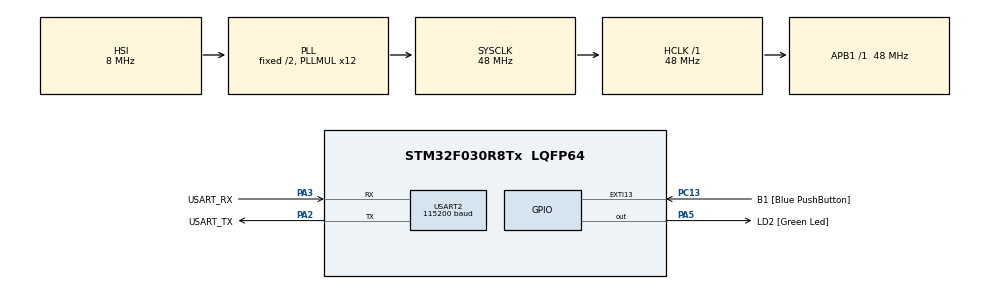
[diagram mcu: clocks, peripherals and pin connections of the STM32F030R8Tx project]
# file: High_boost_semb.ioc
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Mcu.Family=STM32F0
Mcu.Name=STM32F030R8Tx
Mcu.Package=LQFP64
NVIC.USART2_IRQn=true\:0\:0\:false\:false\:true\:true\:true\:true
PA13.GPIO_Label=TMS
PA13.Mode=Serial_Wire
PA13.Signal=SYS_SWDIO
PA14.GPIO_Label=TCK
PA14.Mode=Serial_Wire
PA14.Signal=SYS_SWCLK
PA2.GPIO_Label=USART_TX
PA2.GPIO_Mode=GPIO_MODE_AF_PP
PA2.GPIO_PuPd=GPIO_NOPULL
PA2.GPIO_Speed=GPIO_SPEED_FREQ_LOW
PA2.Mode=Asynchronous
PA2.Signal=USART2_TX
PA3.GPIO_Label=USART_RX
PA3.GPIO_Mode=GPIO_MODE_AF_PP
PA3.GPIO_PuPd=GPIO_NOPULL
PA3.GPIO_Speed=GPIO_SPEED_FREQ_LOW
PA3.Mode=Asynchronous
PA3.Signal=USART2_RX
PA5.GPIO_Label=LD2 [Green Led]
PA5.GPIO_Mode=GPIO_MODE_OUTPUT_PP
PA5.GPIO_PuPd=GPIO_NOPULL
PA5.GPIO_Speed=GPIO_SPEED_FREQ_LOW
PA5.Signal=GPIO_Output
PC13.GPIO_Label=B1 [Blue PushButton]
PC13.GPIO_ModeDefaultEXTI=GPIO_MODE_IT_FALLING
PC13.Signal=GPXTI13
PC14-OSC32_IN.Mode=LSE-External-Oscillator
PC14-OSC32_IN.Signal=RCC_OSC32_IN
PC15-OSC32_OUT.Mode=LSE-External-Oscillator
PC15-OSC32_OUT.Signal=RCC_OSC32_OUT
PF0-OSC_IN.Mode=HSE-External-Clock-Source
PF0-OSC_IN.Signal=RCC_OSC_IN
PF1-OSC_OUT.Signal=RCC_OSC_OUT
ProjectManager.HeapSize=0x200
ProjectManager.StackSize=0x400
ProjectManager.TargetToolchain=STM32CubeIDE
RCC.AHBFreq_Value=48000000
RCC.APB1Freq_Value=48000000
RCC.APB1TimFreq_Value=48000000
RCC.HCLKFreq_Value=48000000
RCC.PLLMUL=RCC_PLL_MUL12
RCC.SYSCLKFreq_VALUE=48000000
RCC.SYSCLKSource=RCC_SYSCLKSOURCE_PLLCLK
USART2.BaudRate=115200
USART2.VirtualMode-Asynchronous=VM_ASYNC
board=NUCLEO-F030R8

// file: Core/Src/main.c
/* USER CODE BEGIN Header */
/**
 ******************************************************************************
 * @file           : main.c
 * @brief          : Main program body
 ******************************************************************************
 * @attention
 *
 * Copyright (c) 2025 STMicroelectronics.
 * All rights reserved.
 *
 * This software is licensed under terms that can be found in the LICENSE file
 * in the root directory of this software component.
 * If no LICENSE file comes with this software, it is provided AS-IS.
 *
 ******************************************************************************
 */
/* USER CODE END Header */
#include "main.h"
#include <stdio.h>

UART_HandleTypeDef huart2;

void SystemClock_Config(void);
static void MX_GPIO_Init(void);
static void MX_USART2_UART_Init(void);

/* USER CODE BEGIN 0 */
#define MAX_VAL 255

const uint8_t imagem[60][90] = { { 106, 99, 97, 88, 93, 101, 98, 96, 90, 88, 91,
		86, 86, 83, 82, 85, 88, 86, 86, 88, 83, 84, 91, 92, 87, 90, 90, 91, 98,
		94, 99, 96, 93, 95, 88, 91, 91, 97, 95, 99, 105, 99, 86, 88, 88, 91, 94,
		94, 96, 87, 86, 86, 86, 86, 84, 81, 80, 80, 81, 84, 87, 89, 87, 79, 79,
		78, 75, 74, 75, 78, 80, 83, 77, 81, 82, 77, 75, 80, 84, 85, 79, 75, 70,
		69, 70, 70, 74, 75, 69, 70 }, { 112, 105, 96, 92, 95, 97, 103, 99, 96,
		99, 90, 84, 86, 87, 92, 95, 94, 85, 92, 97, 93, 88, 93, 103, 103, 100,
		99, 100, 103, 101, 94, 99, 108, 104, 95, 98, 100, 105, 105, 114, 113,
		103, 104, 109, 114, 127, 134, 128, 112, 113, 120, 110, 99, 94, 88, 80,
		81, 82, 85, 92, 84, 87, 90, 81, 81, 88, 84, 83, 84, 88, 96, 92, 87, 95,
		87, 83, 83, 83, 83, 78, 76, 74, 68, 71, 73, 70, 71, 73, 73, 70 }, { 107,
		104, 96, 96, 86, 87, 96, 97, 94, 94, 87, 79, 80, 85, 92, 93, 96, 95,
		108, 113, 106, 91, 91, 95, 95, 101, 105, 105, 110, 113, 116, 114, 108,
		102, 103, 114, 115, 119, 130, 125, 116, 105, 117, 128, 128, 144, 131,
		124, 124, 125, 129, 122, 114, 111, 100, 96, 97, 97, 97, 99, 82, 82, 89,
		83, 87, 90, 88, 89, 87, 87, 87, 86, 94, 101, 94, 89, 81, 80, 79, 80, 76,
		77, 74, 75, 74, 72, 71, 75, 79, 73 }, { 108, 108, 101, 96, 88, 93, 97,
		95, 91, 88, 83, 80, 81, 84, 92, 94, 98, 101, 109, 112, 109, 94, 94, 99,
		95, 98, 103, 108, 110, 120, 119, 119, 116, 115, 111, 123, 127, 131, 139,
		147, 143, 128, 133, 132, 129, 131, 131, 126, 126, 129, 130, 136, 130,
		126, 117, 111, 110, 112, 94, 90, 85, 92, 87, 77, 80, 77, 83, 83, 80, 82,
		80, 79, 83, 87, 93, 91, 83, 82, 79, 77, 77, 79, 81, 81, 76, 73, 73, 78,
		79, 73 }, { 117, 112, 110, 109, 98, 104, 100, 89, 91, 96, 96, 89, 90,
		85, 86, 87, 90, 102, 101, 100, 100, 100, 104, 105, 103, 96, 101, 107,
		109, 118, 114, 114, 116, 117, 114, 113, 134, 153, 145, 120, 88, 62, 49,
		38, 34, 30, 34, 34, 37, 46, 60, 83, 107, 133, 138, 120, 113, 106, 103,
		98, 96, 102, 90, 77, 78, 77, 83, 87, 85, 81, 80, 85, 87, 86, 89, 86, 85,
		79, 81, 78, 80, 88, 92, 87, 82, 79, 76, 77, 77, 76 }, { 104, 104, 109,
		110, 116, 118, 102, 94, 92, 103, 103, 101, 93, 86, 87, 87, 93, 97, 98,
		99, 108, 101, 101, 98, 102, 107, 103, 107, 115, 117, 114, 121, 120, 113,
		115, 124, 124, 86, 43, 22, 16, 15, 15, 17, 17, 16, 14, 13, 14, 14, 11,
		9, 16, 44, 79, 119, 145, 125, 103, 96, 103, 102, 89, 83, 85, 87, 91, 92,
		97, 90, 87, 86, 89, 98, 103, 92, 91, 92, 85, 84, 87, 96, 101, 95, 87,
		88, 81, 77, 83, 83 }, { 118, 104, 103, 111, 115, 111, 104, 98, 90, 100,
		106, 111, 101, 94, 94, 103, 111, 97, 97, 104, 115, 106, 100, 98, 100,
		102, 98, 115, 125, 123, 121, 124, 131, 134, 131, 86, 36, 16, 15, 20, 30,
		27, 20, 19, 18, 17, 17, 15, 18, 19, 18, 17, 14, 10, 9, 29, 89, 140, 132,
		126, 118, 108, 102, 96, 101, 95, 98, 100, 108, 109, 106, 99, 110, 126,
		121, 103, 90, 100, 100, 100, 93, 96, 96, 92, 88, 92, 92, 91, 89, 81 }, {
		118, 117, 109, 104, 112, 112, 115, 110, 103, 112, 116, 112, 96, 96, 110,
		119, 119, 115, 119, 116, 117, 103, 105, 99, 97, 98, 111, 120, 119, 118,
		124, 128, 142, 130, 58, 18, 16, 16, 13, 17, 29, 16, 14, 15, 15, 14, 17,
		16, 17, 18, 17, 16, 17, 17, 16, 13, 7, 55, 137, 154, 144, 132, 117, 110,
		107, 104, 104, 104, 101, 95, 99, 112, 126, 127, 123, 102, 93, 104, 110,
		103, 100, 93, 88, 99, 99, 99, 103, 105, 94, 80 }, { 125, 138, 139, 134,
		134, 129, 125, 126, 120, 121, 116, 101, 91, 101, 119, 122, 120, 123,
		130, 128, 129, 120, 120, 113, 105, 110, 124, 126, 127, 135, 142, 149,
		143, 60, 9, 18, 26, 37, 53, 72, 82, 69, 51, 43, 37, 30, 24, 19, 16, 16,
		15, 18, 19, 17, 15, 16, 17, 8, 35, 133, 159, 140, 122, 115, 112, 108,
		118, 119, 113, 106, 112, 117, 125, 120, 111, 97, 106, 114, 102, 102,
		113, 102, 94, 100, 104, 105, 112, 112, 106, 89 }, { 122, 134, 150, 152,
		140, 123, 118, 129, 136, 132, 121, 113, 114, 117, 125, 125, 128, 129,
		133, 134, 132, 128, 119, 123, 120, 118, 132, 141, 141, 147, 148, 148,
		72, 13, 32, 56, 106, 152, 167, 185, 188, 177, 146, 113, 92, 80, 57, 40,
		31, 25, 21, 19, 20, 20, 18, 16, 17, 18, 9, 39, 138, 146, 137, 124, 121,
		114, 129, 130, 132, 136, 134, 131, 128, 124, 118, 107, 110, 113, 103,
		97, 106, 108, 105, 102, 109, 103, 117, 125, 124, 100 }, { 139, 139, 136,
		133, 133, 121, 116, 121, 129, 145, 148, 138, 137, 133, 135, 139, 141,
		135, 142, 135, 136, 129, 122, 130, 134, 133, 140, 146, 148, 151, 150,
		87, 18, 31, 82, 157, 217, 231, 238, 246, 250, 246, 234, 210, 185, 158,
		111, 72, 49, 34, 28, 26, 23, 20, 19, 14, 17, 19, 18, 9, 55, 147, 149,
		128, 117, 114, 117, 114, 120, 136, 133, 139, 137, 128, 125, 113, 114,
		119, 118, 108, 98, 104, 108, 102, 109, 107, 112, 123, 121, 104 }, { 153,
		144, 151, 145, 133, 131, 144, 142, 145, 160, 152, 146, 153, 145, 142,
		142, 142, 134, 142, 148, 148, 140, 142, 149, 136, 128, 126, 130, 150,
		150, 101, 21, 18, 59, 131, 213, 237, 239, 248, 254, 254, 250, 245, 234,
		218, 182, 132, 83, 56, 43, 37, 31, 27, 22, 17, 15, 17, 19, 18, 16, 9,
		98, 159, 142, 109, 93, 101, 118, 131, 134, 134, 140, 142, 136, 122, 116,
		120, 123, 130, 124, 114, 120, 120, 120, 123, 126, 127, 126, 115, 108 },
		{ 153, 154, 180, 168, 140, 158, 157, 184, 197, 186, 167, 169, 176, 160,
				159, 159, 165, 148, 151, 160, 156, 151, 147, 153, 144, 135, 137,
				139, 141, 106, 32, 13, 29, 79, 133, 187, 219, 222, 223, 226,
				228, 230, 228, 217, 186, 139, 102, 76, 63, 55, 43, 32, 29, 27,
				20, 16, 18, 19, 18, 17, 9, 40, 134, 105, 87, 87, 100, 122, 101,
				121, 131, 144, 127, 141, 125, 119, 118, 120, 125, 125, 129, 140,
				141, 136, 139, 138, 134, 133, 123, 109 }, { 141, 151, 168, 157,
				142, 147, 143, 181, 173, 179, 181, 188, 196, 177, 179, 197, 192,
				175, 183, 167, 162, 166, 156, 145, 139, 146, 159, 185, 128, 39,
				21, 18, 37, 87, 137, 175, 200, 202, 198, 193, 197, 214, 220,
				205, 164, 123, 107, 93, 80, 70, 61, 51, 37, 27, 23, 20, 18, 19,
				19, 15, 14, 16, 59, 63, 73, 84, 80, 83, 67, 82, 121, 110, 107,
				130, 113, 128, 126, 129, 133, 127, 133, 143, 143, 141, 143, 139,
				142, 137, 125, 105 }, { 117, 110, 114, 114, 110, 104, 105, 151,
				161, 162, 201, 194, 159, 135, 130, 185, 209, 214, 205, 168, 170,
				190, 172, 159, 177, 192, 202, 193, 68, 21, 18, 18, 56, 106, 149,
				186, 206, 208, 203, 198, 200, 221, 236, 229, 203, 171, 154, 142,
				125, 103, 80, 66, 44, 28, 24, 19, 18, 18, 17, 16, 15, 14, 35,
				57, 55, 67, 63, 59, 61, 73, 92, 78, 96, 93, 89, 149, 142, 144,
				149, 146, 144, 142, 137, 134, 145, 148, 147, 134, 113, 95 }, {
				112, 81, 65, 76, 99, 96, 92, 94, 128, 139, 151, 140, 117, 105,
				98, 108, 170, 157, 179, 207, 212, 206, 208, 206, 219, 226, 242,
				153, 34, 20, 18, 17, 54, 112, 153, 166, 166, 184, 206, 212, 220,
				204, 163, 130, 126, 136, 134, 131, 117, 96, 73, 60, 44, 32, 27,
				19, 18, 18, 18, 16, 16, 17, 28, 47, 38, 51, 62, 66, 65, 64, 57,
				70, 87, 76, 76, 118, 140, 143, 147, 144, 142, 142, 140, 136,
				143, 132, 125, 100, 90, 80 }, { 77, 73, 68, 69, 78, 90, 91, 80,
				90, 104, 91, 90, 94, 78, 72, 78, 66, 60, 82, 126, 189, 192, 196,
				202, 198, 202, 197, 95, 21, 22, 20, 17, 47, 94, 92, 69, 58, 85,
				165, 191, 169, 86, 29, 23, 38, 60, 59, 52, 47, 41, 34, 35, 37,
				32, 29, 19, 17, 18, 18, 19, 18, 17, 24, 37, 34, 42, 48, 54, 61,
				58, 58, 62, 73, 59, 68, 66, 115, 149, 144, 139, 138, 143, 143,
				147, 140, 117, 105, 85, 86, 68 }, { 66, 73, 69, 72, 94, 88, 76,
				82, 90, 83, 71, 70, 63, 55, 54, 53, 54, 68, 67, 47, 107, 180,
				191, 180, 149, 151, 142, 76, 23, 23, 21, 18, 25, 27, 40, 47, 32,
				25, 83, 159, 101, 27, 17, 41, 64, 45, 29, 20, 16, 15, 27, 41,
				38, 32, 28, 21, 16, 17, 18, 19, 19, 17, 18, 34, 36, 36, 37, 36,
				48, 50, 52, 62, 46, 36, 57, 64, 97, 153, 144, 127, 130, 130,
				132, 121, 111, 106, 94, 95, 88, 65 }, { 68, 74, 76, 78, 86, 80,
				84, 87, 77, 73, 67, 69, 68, 52, 51, 54, 52, 64, 70, 66, 142,
				169, 152, 98, 101, 118, 136, 94, 23, 20, 20, 17, 54, 59, 71, 75,
				34, 41, 76, 152, 88, 24, 39, 86, 109, 52, 31, 31, 49, 88, 105,
				77, 48, 32, 26, 19, 18, 18, 16, 18, 19, 17, 17, 33, 36, 35, 36,
				36, 36, 38, 37, 47, 43, 37, 43, 51, 82, 144, 143, 125, 117, 117,
				115, 101, 91, 97, 93, 87, 74, 67 }, { 75, 76, 77, 85, 85, 79,
				84, 87, 75, 72, 73, 72, 69, 42, 52, 54, 47, 57, 56, 65, 101,
				108, 72, 58, 56, 63, 111, 63, 21, 21, 18, 17, 98, 165, 143, 115,
				95, 122, 139, 165, 83, 39, 75, 124, 125, 129, 125, 133, 143,
				143, 128, 80, 44, 27, 23, 19, 18, 19, 17, 16, 17, 19, 16, 28,
				31, 31, 34, 37, 40, 46, 44, 40, 38, 39, 43, 49, 66, 115, 146,
				120, 111, 102, 100, 99, 94, 94, 90, 82, 73, 71 }, { 75, 56, 69,
				79, 77, 77, 78, 72, 66, 62, 67, 58, 49, 48, 52, 52, 39, 40, 46,
				44, 47, 52, 53, 63, 56, 47, 56, 28, 26, 20, 18, 19, 91, 173,
				206, 210, 211, 204, 196, 182, 82, 58, 114, 193, 217, 231, 235,
				219, 171, 117, 81, 62, 39, 27, 24, 19, 19, 19, 17, 14, 16, 19,
				15, 30, 50, 43, 39, 40, 46, 47, 42, 41, 40, 32, 31, 35, 46, 74,
				116, 115, 102, 92, 91, 98, 107, 99, 88, 86, 85, 77 }, { 58, 39,
				65, 75, 72, 72, 74, 70, 55, 51, 63, 60, 52, 52, 56, 48, 42, 41,
				44, 45, 43, 32, 39, 57, 49, 46, 34, 22, 23, 21, 21, 17, 54, 143,
				195, 208, 206, 175, 192, 193, 92, 66, 105, 170, 192, 205, 207,
				182, 136, 86, 62, 51, 36, 29, 25, 20, 19, 19, 18, 16, 17, 18,
				15, 36, 71, 66, 66, 84, 85, 87, 74, 74, 78, 77, 77, 77, 81, 81,
				83, 100, 104, 95, 94, 90, 89, 93, 90, 90, 95, 84 }, { 37, 31,
				49, 73, 67, 59, 57, 64, 53, 54, 66, 67, 62, 53, 53, 45, 43, 46,
				46, 46, 43, 42, 42, 47, 44, 38, 22, 20, 20, 20, 20, 16, 35, 111,
				167, 191, 160, 110, 194, 196, 95, 66, 77, 164, 172, 173, 167,
				138, 100, 65, 51, 39, 31, 30, 26, 20, 17, 18, 17, 18, 18, 18,
				16, 20, 31, 33, 38, 50, 58, 59, 51, 50, 53, 60, 67, 75, 83, 89,
				102, 115, 112, 96, 80, 66, 62, 56, 64, 94, 105, 69 }, { 36, 34,
				38, 64, 71, 63, 57, 58, 54, 55, 58, 60, 60, 58, 61, 55, 49, 54,
				52, 47, 45, 45, 45, 49, 45, 39, 25, 21, 19, 20, 19, 14, 23, 66,
				116, 142, 149, 114, 120, 106, 47, 35, 39, 146, 181, 146, 128,
				91, 67, 53, 41, 34, 32, 32, 29, 21, 17, 16, 17, 15, 18, 19, 16,
				17, 27, 30, 34, 35, 34, 31, 32, 34, 33, 31, 34, 37, 44, 58, 63,
				62, 59, 59, 55, 55, 50, 47, 45, 50, 48, 45 }, { 33, 34, 32, 42,
				72, 68, 62, 58, 60, 58, 54, 53, 53, 57, 64, 58, 50, 52, 51, 49,
				54, 49, 48, 51, 46, 40, 26, 21, 20, 19, 19, 17, 19, 51, 77, 92,
				157, 222, 150, 35, 26, 37, 55, 97, 107, 88, 81, 70, 60, 51, 41,
				35, 33, 32, 27, 21, 17, 16, 16, 17, 19, 19, 17, 15, 27, 37, 39,
				41, 40, 38, 35, 35, 33, 33, 39, 41, 46, 49, 43, 42, 46, 52, 56,
				58, 51, 58, 65, 56, 52, 51 }, { 34, 35, 34, 39, 68, 69, 63, 60,
				57, 53, 53, 54, 54, 54, 58, 55, 51, 51, 52, 55, 58, 49, 47, 50,
				44, 42, 30, 20, 20, 21, 23, 19, 15, 37, 77, 86, 74, 95, 129, 87,
				55, 53, 56, 46, 54, 77, 85, 79, 63, 54, 46, 38, 33, 29, 24, 19,
				18, 19, 17, 17, 16, 16, 18, 18, 25, 37, 38, 44, 37, 39, 40, 43,
				35, 35, 36, 36, 44, 56, 57, 57, 58, 62, 66, 65, 59, 54, 55, 45,
				40, 39 }, { 37, 34, 34, 49, 69, 67, 62, 60, 56, 56, 59, 58, 57,
				55, 49, 46, 48, 50, 51, 48, 46, 48, 47, 43, 41, 44, 34, 21, 20,
				22, 22, 17, 16, 18, 56, 102, 120, 147, 114, 82, 64, 51, 50, 66,
				86, 93, 89, 74, 59, 50, 45, 37, 30, 26, 22, 17, 18, 20, 19, 18,
				16, 16, 18, 18, 20, 36, 41, 43, 42, 46, 47, 44, 44, 45, 49, 50,
				52, 63, 69, 68, 67, 62, 54, 49, 43, 36, 39, 46, 43, 39 }, { 35,
				31, 39, 48, 56, 63, 62, 60, 56, 56, 56, 53, 55, 49, 45, 47, 47,
				44, 45, 43, 40, 43, 45, 47, 47, 50, 35, 23, 21, 20, 19, 19, 18,
				15, 18, 46, 99, 155, 138, 90, 69, 62, 69, 80, 83, 82, 72, 56,
				47, 41, 42, 33, 29, 26, 22, 19, 19, 21, 20, 18, 16, 17, 17, 19,
				18, 38, 47, 41, 47, 55, 53, 52, 46, 46, 47, 49, 46, 48, 48, 41,
				40, 37, 31, 31, 35, 38, 54, 61, 49, 43 }, { 34, 33, 34, 34, 34,
				48, 58, 60, 57, 53, 53, 50, 51, 47, 48, 45, 47, 49, 55, 57, 55,
				55, 59, 58, 58, 63, 43, 22, 24, 20, 19, 20, 19, 18, 13, 14, 32,
				87, 183, 220, 198, 137, 98, 85, 77, 68, 52, 39, 39, 38, 35, 31,
				27, 24, 23, 19, 20, 21, 18, 17, 18, 19, 17, 17, 17, 35, 55, 52,
				51, 57, 60, 57, 50, 47, 47, 46, 50, 52, 50, 45, 47, 46, 47, 50,
				52, 53, 61, 68, 60, 47 }, { 31, 33, 27, 27, 29, 27, 41, 61, 56,
				52, 51, 50, 52, 46, 44, 48, 47, 48, 53, 51, 54, 53, 57, 61, 59,
				62, 54, 24, 21, 21, 21, 20, 21, 18, 18, 16, 13, 22, 75, 132,
				136, 100, 76, 63, 52, 45, 41, 38, 35, 32, 30, 27, 27, 28, 24,
				19, 18, 18, 19, 17, 18, 20, 19, 17, 16, 34, 53, 57, 54, 55, 61,
				56, 55, 51, 54, 53, 49, 54, 52, 56, 61, 55, 53, 53, 48, 45, 61,
				62, 53, 41 }, { 30, 30, 31, 32, 31, 25, 29, 51, 59, 56, 58, 54,
				51, 44, 42, 47, 45, 46, 52, 53, 54, 54, 59, 66, 71, 73, 73, 31,
				18, 21, 20, 18, 21, 21, 18, 17, 17, 14, 14, 24, 32, 35, 38, 35,
				32, 33, 34, 34, 30, 26, 26, 30, 34, 31, 26, 19, 18, 18, 19, 18,
				20, 21, 21, 18, 16, 30, 42, 42, 38, 37, 40, 42, 41, 40, 44, 43,
				37, 43, 37, 46, 47, 43, 36, 35, 43, 47, 60, 67, 58, 45 }, { 27,
				26, 31, 31, 28, 30, 28, 35, 54, 60, 60, 59, 56, 53, 53, 55, 57,
				59, 64, 64, 66, 70, 72, 73, 75, 76, 80, 48, 17, 20, 19, 19, 20,
				19, 20, 18, 16, 16, 13, 13, 24, 31, 28, 25, 27, 27, 28, 29, 31,
				28, 27, 33, 36, 35, 30, 21, 18, 18, 18, 17, 20, 21, 19, 17, 17,
				25, 36, 39, 39, 38, 40, 39, 39, 37, 35, 34, 31, 34, 34, 30, 27,
				28, 25, 26, 33, 42, 42, 41, 46, 56 }, { 26, 29, 28, 27, 26, 28,
				27, 25, 43, 59, 57, 58, 59, 61, 61, 63, 62, 65, 68, 73, 76, 78,
				80, 82, 77, 74, 76, 71, 33, 17, 20, 21, 19, 18, 19, 17, 16, 15,
				14, 15, 31, 59, 46, 35, 35, 32, 32, 33, 35, 36, 37, 40, 41, 34,
				27, 19, 19, 19, 18, 18, 19, 20, 18, 18, 17, 27, 36, 41, 39, 40,
				45, 43, 40, 39, 37, 37, 40, 44, 42, 34, 31, 34, 36, 37, 38, 42,
				43, 43, 46, 59 }, { 46, 52, 51, 47, 37, 34, 40, 49, 57, 56, 60,
				66, 71, 69, 68, 70, 72, 74, 77, 77, 74, 75, 81, 83, 76, 75, 74,
				75, 52, 18, 20, 21, 20, 21, 19, 16, 16, 16, 16, 15, 20, 60, 71,
				58, 52, 46, 38, 36, 37, 42, 50, 54, 53, 41, 25, 19, 20, 21, 20,
				18, 17, 17, 18, 19, 17, 23, 38, 49, 53, 61, 72, 72, 64, 65, 65,
				63, 73, 78, 64, 58, 58, 63, 68, 75, 74, 63, 51, 48, 55, 65 }, {
				62, 64, 64, 64, 63, 62, 65, 65, 65, 69, 69, 56, 52, 59, 65, 58,
				47, 53, 71, 81, 74, 73, 74, 81, 77, 79, 65, 58, 51, 20, 21, 21,
				21, 20, 20, 18, 19, 19, 17, 16, 15, 44, 74, 71, 68, 62, 51, 45,
				48, 54, 63, 68, 66, 56, 38, 22, 20, 22, 20, 20, 20, 21, 22, 18,
				17, 17, 23, 29, 27, 27, 30, 33, 36, 51, 68, 70, 63, 65, 65, 75,
				73, 69, 64, 63, 52, 42, 49, 49, 41, 40 }, { 63, 67, 67, 68, 70,
				71, 70, 70, 76, 76, 60, 51, 46, 41, 38, 38, 38, 36, 38, 50, 46,
				55, 48, 50, 56, 43, 41, 40, 33, 22, 22, 21, 21, 19, 19, 19, 18,
				19, 20, 27, 36, 44, 62, 76, 76, 73, 66, 63, 65, 70, 74, 77, 78,
				69, 52, 29, 19, 21, 21, 21, 22, 22, 23, 18, 18, 17, 16, 21, 20,
				19, 21, 22, 21, 29, 35, 27, 16, 17, 34, 63, 82, 66, 62, 55, 40,
				42, 53, 47, 39, 36 }, { 65, 70, 69, 70, 70, 66, 69, 69, 58, 56,
				58, 55, 48, 38, 38, 38, 47, 50, 35, 32, 33, 38, 40, 35, 39, 32,
				30, 37, 30, 23, 24, 22, 21, 19, 18, 19, 23, 36, 45, 61, 92, 90,
				81, 94, 85, 78, 82, 80, 88, 96, 99, 100, 103, 97, 75, 38, 22,
				20, 20, 22, 25, 22, 22, 18, 18, 18, 15, 19, 24, 29, 28, 27, 32,
				37, 35, 34, 34, 36, 44, 66, 88, 76, 50, 37, 41, 44, 58, 54, 40,
				33 }, { 46, 58, 68, 71, 60, 54, 53, 45, 48, 58, 53, 48, 42, 37,
				46, 46, 45, 44, 39, 37, 41, 37, 35, 39, 43, 37, 31, 28, 23, 21,
				23, 23, 22, 19, 21, 39, 61, 72, 85, 103, 126, 138, 126, 128,
				116, 103, 109, 123, 133, 133, 128, 122, 120, 111, 78, 40, 24,
				21, 19, 23, 27, 24, 22, 18, 19, 17, 17, 17, 21, 33, 37, 44, 50,
				74, 94, 109, 105, 95, 78, 70, 71, 48, 40, 46, 40, 45, 44, 39,
				40, 38 }, { 48, 47, 52, 52, 46, 46, 47, 43, 50, 47, 48, 47, 49,
				48, 56, 56, 54, 42, 37, 37, 48, 41, 34, 37, 43, 36, 30, 25, 21,
				22, 23, 21, 19, 20, 46, 84, 108, 124, 142, 149, 154, 158, 159,
				151, 139, 138, 142, 151, 161, 158, 147, 132, 113, 93, 71, 38,
				25, 23, 20, 26, 27, 22, 20, 18, 21, 19, 17, 19, 18, 16, 21, 26,
				25, 32, 86, 139, 104, 83, 54, 44, 45, 42, 45, 47, 46, 44, 45,
				45, 52, 47 }, { 51, 51, 48, 46, 40, 43, 53, 54, 46, 46, 50, 43,
				56, 55, 60, 52, 49, 43, 37, 38, 47, 44, 36, 38, 42, 38, 31, 25,
				22, 23, 21, 21, 25, 29, 80, 136, 144, 148, 161, 168, 170, 172,
				174, 171, 160, 152, 155, 163, 169, 165, 156, 142, 118, 92, 78,
				49, 28, 26, 20, 23, 21, 18, 18, 19, 20, 18, 15, 17, 18, 15, 17,
				24, 28, 27, 45, 82, 85, 96, 89, 82, 74, 72, 66, 62, 59, 66, 72,
				67, 57, 47 }, { 50, 54, 51, 52, 53, 42, 47, 59, 52, 59, 54, 47,
				61, 56, 54, 48, 46, 44, 38, 38, 43, 44, 39, 44, 44, 36, 26, 24,
				22, 22, 23, 24, 30, 52, 113, 157, 162, 168, 176, 177, 176, 173,
				173, 175, 167, 159, 161, 168, 170, 161, 153, 143, 124, 93, 67,
				41, 23, 25, 20, 22, 20, 17, 18, 18, 17, 17, 18, 19, 19, 19, 17,
				20, 25, 30, 38, 38, 53, 53, 71, 60, 81, 65, 40, 57, 62, 59, 61,
				60, 43, 43 }, { 49, 52, 48, 51, 52, 44, 40, 58, 76, 75, 78, 68,
				65, 57, 56, 54, 43, 45, 43, 42, 46, 48, 46, 47, 34, 24, 23, 23,
				21, 23, 31, 31, 32, 70, 140, 165, 173, 180, 182, 180, 177, 172,
				172, 174, 170, 163, 166, 168, 161, 152, 143, 132, 119, 92, 63,
				30, 26, 26, 21, 21, 20, 16, 17, 19, 19, 21, 23, 24, 20, 19, 19,
				14, 13, 16, 21, 26, 45, 55, 79, 88, 107, 109, 98, 106, 101, 104,
				104, 101, 98, 73 }, { 46, 44, 44, 48, 44, 39, 38, 41, 46, 50,
				76, 85, 85, 70, 65, 62, 50, 45, 40, 43, 49, 47, 36, 28, 23, 23,
				24, 21, 19, 27, 42, 48, 57, 123, 165, 166, 173, 179, 180, 178,
				175, 170, 171, 175, 173, 169, 168, 166, 161, 155, 144, 132, 119,
				91, 63, 30, 27, 23, 20, 18, 19, 26, 28, 29, 27, 30, 30, 33, 29,
				23, 21, 17, 14, 14, 14, 15, 15, 21, 25, 35, 47, 76, 86, 80, 71,
				101, 101, 111, 103, 63 }, { 49, 45, 43, 46, 40, 41, 42, 37, 36,
				32, 34, 42, 65, 74, 72, 66, 60, 50, 46, 50, 47, 31, 22, 24, 24,
				23, 23, 20, 23, 46, 84, 95, 126, 165, 170, 173, 173, 175, 177,
				175, 170, 171, 177, 179, 175, 170, 167, 164, 165, 162, 151, 136,
				115, 89, 53, 29, 23, 21, 19, 21, 29, 35, 42, 50, 57, 48, 43, 41,
				32, 25, 22, 17, 14, 15, 16, 16, 14, 14, 18, 18, 20, 21, 25, 33,
				31, 37, 42, 53, 48, 42 }, { 44, 42, 40, 45, 45, 44, 42, 38, 32,
				34, 34, 28, 29, 50, 48, 48, 59, 71, 69, 52, 28, 19, 20, 20, 22,
				20, 18, 21, 26, 61, 127, 150, 167, 179, 178, 175, 167, 164, 161,
				156, 160, 174, 180, 182, 181, 177, 173, 171, 171, 168, 159, 136,
				104, 74, 48, 30, 26, 24, 25, 34, 44, 49, 52, 45, 36, 25, 20, 18,
				14, 13, 13, 12, 12, 13, 16, 17, 15, 13, 14, 18, 24, 24, 20, 21,
				20, 27, 52, 85, 88, 83 }, { 41, 38, 39, 39, 37, 37, 38, 35, 33,
				35, 28, 27, 30, 27, 28, 32, 43, 73, 66, 28, 16, 20, 21, 21, 21,
				16, 17, 25, 22, 33, 100, 164, 179, 181, 182, 169, 153, 134, 136,
				149, 168, 183, 184, 186, 186, 184, 180, 178, 175, 169, 157, 149,
				116, 71, 43, 28, 25, 29, 35, 36, 30, 23, 14, 10, 10, 13, 13, 13,
				13, 12, 11, 12, 12, 12, 14, 14, 13, 13, 13, 12, 18, 21, 18, 20,
				22, 21, 22, 30, 58, 87 }, { 41, 41, 39, 36, 37, 39, 39, 42, 46,
				48, 43, 47, 49, 53, 62, 64, 58, 44, 26, 15, 17, 19, 20, 21, 18,
				16, 23, 28, 27, 23, 31, 66, 108, 149, 168, 166, 121, 103, 149,
				178, 182, 184, 187, 188, 189, 186, 184, 175, 168, 170, 167, 123,
				64, 37, 28, 22, 22, 20, 16, 11, 11, 12, 12, 12, 12, 12, 12, 12,
				12, 12, 12, 13, 12, 11, 12, 11, 11, 12, 13, 11, 18, 21, 22, 21,
				20, 20, 22, 23, 21, 23 }, { 40, 40, 38, 38, 38, 40, 45, 44, 39,
				37, 41, 39, 40, 40, 39, 36, 22, 15, 15, 18, 17, 18, 20, 18, 15,
				18, 25, 30, 39, 34, 28, 25, 25, 38, 56, 64, 49, 78, 134, 175,
				185, 186, 188, 194, 197, 196, 191, 173, 167, 147, 94, 36, 20,
				21, 19, 15, 15, 14, 14, 13, 12, 11, 8, 9, 11, 13, 13, 12, 11,
				13, 12, 12, 12, 11, 12, 12, 11, 10, 13, 12, 16, 19, 25, 27, 27,
				27, 24, 25, 26, 24 }, { 39, 35, 31, 38, 37, 49, 47, 32, 25, 27,
				35, 27, 27, 25, 25, 21, 14, 16, 17, 20, 16, 17, 16, 15, 18, 24,
				33, 37, 39, 38, 37, 36, 38, 29, 20, 18, 21, 25, 34, 49, 65, 73,
				85, 104, 118, 128, 129, 112, 82, 40, 19, 19, 19, 20, 18, 13, 14,
				14, 12, 11, 10, 11, 10, 12, 14, 14, 14, 14, 12, 13, 12, 12, 12,
				11, 12, 12, 12, 11, 12, 13, 16, 18, 21, 27, 25, 27, 25, 25, 27,
				28 }, { 28, 36, 36, 37, 39, 41, 46, 44, 38, 41, 48, 53, 51, 47,
				37, 15, 15, 17, 18, 18, 17, 16, 14, 17, 22, 32, 37, 35, 34, 36,
				32, 39, 42, 34, 28, 34, 32, 30, 28, 25, 24, 21, 20, 20, 17, 20,
				20, 17, 13, 17, 19, 18, 20, 19, 14, 10, 10, 11, 11, 10, 12, 13,
				18, 17, 13, 14, 16, 15, 12, 12, 11, 11, 11, 12, 13, 12, 12, 11,
				11, 12, 16, 18, 16, 18, 18, 19, 20, 21, 27, 30 }, { 25, 28, 35,
				35, 36, 39, 42, 44, 43, 46, 49, 52, 54, 59, 38, 16, 16, 17, 16,
				14, 15, 14, 15, 19, 25, 33, 31, 30, 37, 32, 28, 33, 31, 31, 34,
				37, 40, 40, 35, 34, 36, 31, 29, 31, 28, 21, 19, 18, 20, 21, 18,
				16, 16, 12, 9, 11, 12, 12, 12, 13, 14, 16, 20, 16, 12, 14, 16,
				15, 15, 14, 14, 12, 13, 12, 12, 14, 17, 13, 11, 12, 15, 18, 17,
				20, 24, 21, 20, 20, 21, 22 }, { 28, 25, 25, 29, 28, 28, 29, 31,
				28, 28, 27, 27, 27, 28, 21, 15, 15, 14, 14, 15, 17, 15, 17, 19,
				22, 27, 28, 30, 31, 27, 28, 26, 23, 25, 31, 32, 36, 35, 32, 31,
				35, 29, 29, 27, 20, 19, 19, 21, 21, 19, 16, 12, 12, 11, 10, 12,
				13, 13, 13, 15, 15, 19, 18, 16, 14, 14, 20, 23, 22, 21, 18, 17,
				16, 15, 16, 18, 16, 13, 11, 8, 10, 13, 13, 16, 29, 30, 27, 27,
				26, 19 }, { 28, 24, 25, 26, 24, 25, 25, 25, 24, 25, 25, 24, 26,
				27, 20, 15, 17, 16, 15, 14, 16, 17, 17, 18, 22, 25, 25, 26, 25,
				24, 26, 23, 21, 20, 28, 29, 33, 33, 28, 26, 27, 25, 22, 19, 19,
				19, 19, 18, 17, 15, 13, 11, 13, 12, 11, 13, 14, 14, 15, 15, 15,
				15, 15, 17, 18, 20, 23, 22, 21, 20, 19, 19, 18, 17, 17, 14, 10,
				10, 11, 7, 8, 10, 11, 12, 23, 33, 34, 38, 25, 16 }, { 27, 24,
				29, 36, 32, 31, 30, 27, 28, 30, 31, 29, 25, 18, 19, 18, 16, 16,
				16, 14, 15, 18, 17, 19, 21, 20, 21, 25, 23, 22, 22, 19, 15, 17,
				23, 21, 22, 23, 22, 23, 22, 19, 16, 19, 18, 18, 18, 17, 14, 12,
				12, 11, 11, 9, 9, 11, 11, 13, 14, 12, 13, 12, 14, 19, 20, 21,
				22, 21, 20, 20, 21, 21, 21, 19, 14, 8, 8, 7, 11, 11, 11, 10, 10,
				12, 15, 22, 23, 28, 23, 20 }, { 25, 28, 49, 54, 52, 48, 44, 41,
				44, 48, 48, 42, 28, 16, 16, 14, 15, 19, 18, 18, 17, 18, 17, 17,
				18, 18, 21, 21, 20, 22, 20, 18, 18, 19, 20, 19, 19, 19, 19, 20,
				18, 15, 16, 17, 20, 20, 17, 15, 13, 11, 11, 11, 12, 10, 11, 10,
				11, 14, 12, 9, 10, 12, 17, 17, 19, 21, 22, 22, 21, 18, 18, 17,
				14, 12, 11, 7, 8, 8, 6, 12, 12, 10, 10, 12, 11, 19, 26, 30, 26,
				19 }, { 28, 50, 61, 60, 59, 57, 56, 56, 53, 58, 57, 48, 28, 14,
				14, 14, 15, 17, 16, 18, 16, 17, 17, 16, 15, 17, 20, 21, 19, 21,
				20, 18, 20, 20, 19, 17, 16, 16, 18, 17, 17, 17, 17, 20, 18, 17,
				16, 15, 14, 13, 13, 13, 12, 12, 11, 10, 11, 12, 11, 9, 11, 13,
				16, 18, 19, 21, 20, 20, 19, 13, 9, 7, 6, 8, 11, 8, 5, 7, 5, 9,
				12, 11, 9, 10, 10, 17, 30, 33, 36, 28 }, { 46, 57, 59, 59, 56,
				57, 54, 56, 59, 59, 52, 44, 20, 14, 14, 15, 18, 18, 14, 14, 14,
				16, 18, 18, 15, 15, 19, 20, 19, 20, 17, 15, 19, 19, 18, 17, 14,
				17, 17, 17, 19, 18, 18, 16, 16, 18, 15, 14, 14, 13, 14, 12, 13,
				14, 12, 12, 11, 10, 10, 10, 13, 16, 16, 18, 19, 20, 19, 17, 13,
				10, 7, 7, 7, 8, 9, 8, 9, 9, 6, 6, 13, 11, 9, 8, 10, 13, 27, 38,
				40, 38 }, { 42, 38, 38, 38, 37, 37, 36, 38, 38, 34, 29, 19, 16,
				17, 15, 17, 21, 19, 14, 13, 15, 17, 19, 19, 18, 17, 16, 16, 18,
				16, 14, 17, 19, 18, 17, 18, 18, 17, 16, 16, 18, 17, 16, 15, 17,
				16, 13, 12, 13, 14, 13, 12, 12, 9, 11, 12, 11, 9, 10, 10, 13,
				19, 17, 14, 14, 13, 13, 11, 10, 9, 9, 6, 5, 6, 8, 5, 8, 9, 8, 5,
				11, 10, 7, 8, 8, 10, 17, 25, 25, 24 }, { 26, 24, 26, 26, 26, 26,
				26, 24, 20, 19, 15, 16, 16, 17, 17, 14, 16, 17, 16, 18, 18, 16,
				16, 18, 18, 17, 17, 15, 16, 17, 17, 17, 17, 16, 16, 16, 14, 13,
				13, 12, 15, 16, 17, 18, 16, 14, 12, 12, 13, 13, 12, 10, 9, 10,
				11, 12, 11, 9, 10, 12, 16, 15, 13, 11, 9, 8, 5, 9, 9, 6, 7, 5,
				4, 4, 4, 3, 4, 5, 5, 3, 8, 7, 5, 7, 7, 11, 13, 17, 18, 19 }, {
				28, 28, 27, 27, 26, 26, 27, 26, 20, 15, 14, 19, 18, 17, 16, 17,
				19, 17, 15, 16, 16, 15, 15, 16, 18, 17, 16, 16, 16, 18, 16, 15,
				15, 13, 14, 13, 12, 12, 12, 12, 13, 15, 14, 16, 16, 12, 12, 13,
				13, 12, 11, 10, 9, 10, 8, 9, 8, 8, 10, 12, 17, 14, 9, 7, 4, 5,
				4, 8, 8, 5, 4, 4, 4, 2, 4, 2, 4, 6, 5, 3, 7, 9, 6, 7, 9, 12, 16,
				20, 20, 19 } };

uint8_t imagem_padd[33][92];
uint8_t linhas_finais[2][92];
uint8_t suavizado[30][90];
uint8_t altura = 30, largura = 90, max_val;
uint8_t altura_trat = 3, largura_trat = 1;
uint8_t altura_atual, altura_final = 32;

uint8_t fatia = 0;
uint8_t total_fatias = 3;
uint8_t sincronizado = 0;
uint8_t tratcond = 1;
float amp = 2.0f;

void tratar_linha(uint8_t *buffer, int tamanho) {
	uint8_t digito = 0;
	uint8_t valor = 0;

	if (fatia == 2 && tratcond) {
		altura_trat = 2;
		tratcond = 0;
	}

	for (int i = 0; i < tamanho; i++) {
		uint8_t aux = buffer[i];

		if (aux == ' ' || aux == '\r' || aux == '\n') {
			imagem_padd[altura_trat][largura_trat] = valor;
			largura_trat++;
			valor = 0;
			digito = 0;
			if (aux == '\n') {
				altura_trat++;
				largura_trat = 1;
			}
		} else if (digito) {
			valor = valor * 10 + (buffer[i] - '0');
		} else {
			valor = aux - '0';
			digito = 1;
		}
	}
}

void sincronizar() {
	char comandoSinc = 'S';
	char resposta = ' ';

	HAL_UART_Transmit(&huart2, &comandoSinc, 1, 3000);

	if (HAL_UART_Receive(&huart2, &resposta, 1, HAL_MAX_DELAY) == HAL_OK) {
		if (resposta == 'S') {

		} else {
			HAL_UART_Receive(&huart2, &resposta, 1, HAL_MAX_DELAY);
		}
	}
}

void receber() {
	for (int i = 1; i < altura + 1; i++) {
		uint8_t tamanho[3];
		int tam;
		uint8_t buf[361];
		char comando = ' ';

		comando = 'I';
		HAL_UART_Transmit(&huart2, &comando, 1, 100);
		if (HAL_UART_Receive(&huart2, tamanho, 3, HAL_MAX_DELAY) == HAL_OK) {
			tam = (tamanho[0] - '0') * 100 + (tamanho[1] - '0') * 10
					+ (tamanho[2] - '0');

			comando = 'M';
			HAL_UART_Transmit(&huart2, &comando, 1, 10);
			if (HAL_UART_Receive(&huart2, buf, tam, HAL_MAX_DELAY) == HAL_OK) {
				tratar_linha(buf, tam);
			}
		}
	}
	altura_trat = 3;
}

/*
 * Copias as linhas finais, caso a condicao seja 0
 * Caso condicao maior que 0, cola as linhas finais no topo da imagem e copia as ultimas
 */

void copiar_linhas_finais(uint8_t condicao) {
	uint8_t copia_cont = 0;
	if (condicao == 0) {
		for (int i = altura + 1; i < altura + 3; i++) {
			for (int j = 0; j < largura + 2; j++) {
				linhas_finais[copia_cont][j] = imagem_padd[i][j];
			}
			copia_cont++;
		}
	} else if (condicao > 0) {
		for (int i = altura + fatia; i < altura + 3; i++) {
			for (int j = 0; j < largura + 2; j++) {
				linhas_finais[copia_cont][j] = imagem_padd[i][j];
			}
			copia_cont++;
		}
	}
}

void colar_linhas_finais() {
	uint8_t colar_cont = 0;
	for (int i = 2 - fatia; i < 4 - fatia; i++) {
		for (int j = 0; j < largura + 2; j++) {
			imagem_padd[i][j] = linhas_finais[colar_cont][j];
		}
		colar_cont++;
	}
}

// Lembrar de colocar no loop !!!!!!!!!!!!!!!!!
void high_boost() {
	// Aplica o zero padding antes da imagem ser recebida
	for (int i = 0; i < altura + 3; i++) {
		for (int j = 0; j < largura + 2; j++) {
			imagem_padd[i][j] = 0;
		}
	}

	if (!sincronizado) {
		sincronizar();
		sincronizado++;
	}

	receber();

	HAL_Delay(1000);

	//Copiando as duas ultimas linhas utilizando a fatia como condicao

	if (fatia) {
		colar_linhas_finais();
		copiar_linhas_finais(fatia);
	} else {
		copiar_linhas_finais(fatia);
	}

 	if (!fatia) {
		altura_atual = 3;
	} else if (fatia == 1) {
		altura_atual = 2;
	} else if (fatia == 2) {
		altura_atual = 1;
		altura_final = 32;
	}

	// Aplica filtro de suavizacao
	// A imagem e percorrida pixel a pixel enquanto calcula a media
	// somando o valor dos pixels ao redor (3x3) e dividindo por 9
	for (int i = altura_atual; i < altura_final; i++) {
		for (int j = 1; j < largura + 1; j++) {
			// Calcula media 3x3
			int sum = 0;
			for (int di = -1; di <= 1; di++) {
				for (int dj = -1; dj <= 1; dj++) {
					sum += imagem_padd[i + di][j + dj];
				}
			}
			int avg = sum / 9;

			// Garante que os valores da matriz estejam no intervalo [0, 255]
			if (avg < 0)
				avg = 0;
			if (avg > MAX_VAL)
				avg = MAX_VAL;

			int resultado;

			// Variavel refernte a (imagem - suavizado)
			int high_pass = imagem_padd[i][j] - avg;

			resultado = (amp - 1.0f) * imagem_padd[i][j] + high_pass;

			// Garante que os valores da matriz estejam no intervalo [0, 255]
			if (resultado < 0)
				resultado = 0;
			if (resultado > MAX_VAL)
				resultado = MAX_VAL;

			//Insere o resultado na matriz filtrado
			printf("%d ", resultado);
		}
		printf("\n");
		HAL_Delay(300);
	}
}

/* USER CODE END 0 */

int main(void) {

	/* MCU Configuration--------------------------------------------------------*/

	/* Reset of all peripherals, Initializes the Flash interface and the Systick. */
	HAL_Init();

	/* Configure the system clock */
	SystemClock_Config();

	/* Initialize all configured peripherals */
	MX_GPIO_Init();
	MX_USART2_UART_Init();
	/* USER CODE BEGIN 2 */

	for (int i = 0; i < 3; i++) {
		high_boost();
		fatia++;
		HAL_Delay(700);
	}

	/* USER CODE END 2 */

	/* Infinite loop */
	while (1) {

	}
}
void SystemClock_Config(void) {
	RCC_OscInitTypeDef RCC_OscInitStruct = { 0 };
	RCC_ClkInitTypeDef RCC_ClkInitStruct = { 0 };

	/** Initializes the RCC Oscillators according to the specified parameters
	 * in the RCC_OscInitTypeDef structure.
	 */
	RCC_OscInitStruct.OscillatorType = RCC_OSCILLATORTYPE_HSI;
	RCC_OscInitStruct.HSIState = RCC_HSI_ON;
	RCC_OscInitStruct.HSICalibrationValue = RCC_HSICALIBRATION_DEFAULT;
	RCC_OscInitStruct.PLL.PLLState = RCC_PLL_ON;
	RCC_OscInitStruct.PLL.PLLSource = RCC_PLLSOURCE_HSI;
	RCC_OscInitStruct.PLL.PLLMUL = RCC_PLL_MUL12;
	RCC_OscInitStruct.PLL.PREDIV = RCC_PREDIV_DIV1;
	if (HAL_RCC_OscConfig(&RCC_OscInitStruct) != HAL_OK) {
		Error_Handler();
	}

	/** Initializes the CPU, AHB and APB buses clocks
	 */
	RCC_ClkInitStruct.ClockType = RCC_CLOCKTYPE_HCLK | RCC_CLOCKTYPE_SYSCLK
			| RCC_CLOCKTYPE_PCLK1;
	RCC_ClkInitStruct.SYSCLKSource = RCC_SYSCLKSOURCE_PLLCLK;
	RCC_ClkInitStruct.AHBCLKDivider = RCC_SYSCLK_DIV1;
	RCC_ClkInitStruct.APB1CLKDivider = RCC_HCLK_DIV1;

	if (HAL_RCC_ClockConfig(&RCC_ClkInitStruct, FLASH_LATENCY_1) != HAL_OK) {
		Error_Handler();
	}
}

static void MX_USART2_UART_Init(void) {

	huart2.Instance = USART2;
	huart2.Init.BaudRate = 115200;
	huart2.Init.WordLength = UART_WORDLENGTH_8B;
	huart2.Init.StopBits = UART_STOPBITS_1;
	huart2.Init.Parity = UART_PARITY_NONE;
	huart2.Init.Mode = UART_MODE_TX_RX;
	huart2.Init.HwFlowCtl = UART_HWCONTROL_NONE;
	huart2.Init.OverSampling = UART_OVERSAMPLING_16;
	huart2.Init.OneBitSampling = UART_ONE_BIT_SAMPLE_DISABLE;
	huart2.AdvancedInit.AdvFeatureInit = UART_ADVFEATURE_NO_INIT;
	if (HAL_UART_Init(&huart2) != HAL_OK) {
		Error_Handler();
	}

}

static void MX_GPIO_Init(void) {
	GPIO_InitTypeDef GPIO_InitStruct = { 0 };

	/* GPIO Ports Clock Enable */
	__HAL_RCC_GPIOC_CLK_ENABLE();
	__HAL_RCC_GPIOF_CLK_ENABLE();
	__HAL_RCC_GPIOA_CLK_ENABLE();

	/*Configure GPIO pin Output Level */
	HAL_GPIO_WritePin(LD2_GPIO_Port, LD2_Pin, GPIO_PIN_RESET);

	/*Configure GPIO pin : B1_Pin */
	GPIO_InitStruct.Pin = B1_Pin;
	GPIO_InitStruct.Mode = GPIO_MODE_IT_FALLING;
	GPIO_InitStruct.Pull = GPIO_NOPULL;
	HAL_GPIO_Init(B1_GPIO_Port, &GPIO_InitStruct);

	/*Configure GPIO pin : LD2_Pin */
	GPIO_InitStruct.Pin = LD2_Pin;
	GPIO_InitStruct.Mode = GPIO_MODE_OUTPUT_PP;
	GPIO_InitStruct.Pull = GPIO_NOPULL;
	GPIO_InitStruct.Speed = GPIO_SPEED_FREQ_LOW;
	HAL_GPIO_Init(LD2_GPIO_Port, &GPIO_InitStruct);

}

/* USER CODE BEGIN 4 */

int __io_putchar(int ch) {
	// Usa um buffer de 8 bits para o caractere
	uint8_t data = (uint8_t) ch;

	// Transmite o caractere via UART2 (huart2)
	// O último parâmetro (100) é o timeout em ms.
	HAL_UART_Transmit(&huart2, &data, 1, 100);

	return ch;
}

/* USER CODE END 4 */

void Error_Handler(void) {
	__disable_irq();
	while (1) {
	}
}
